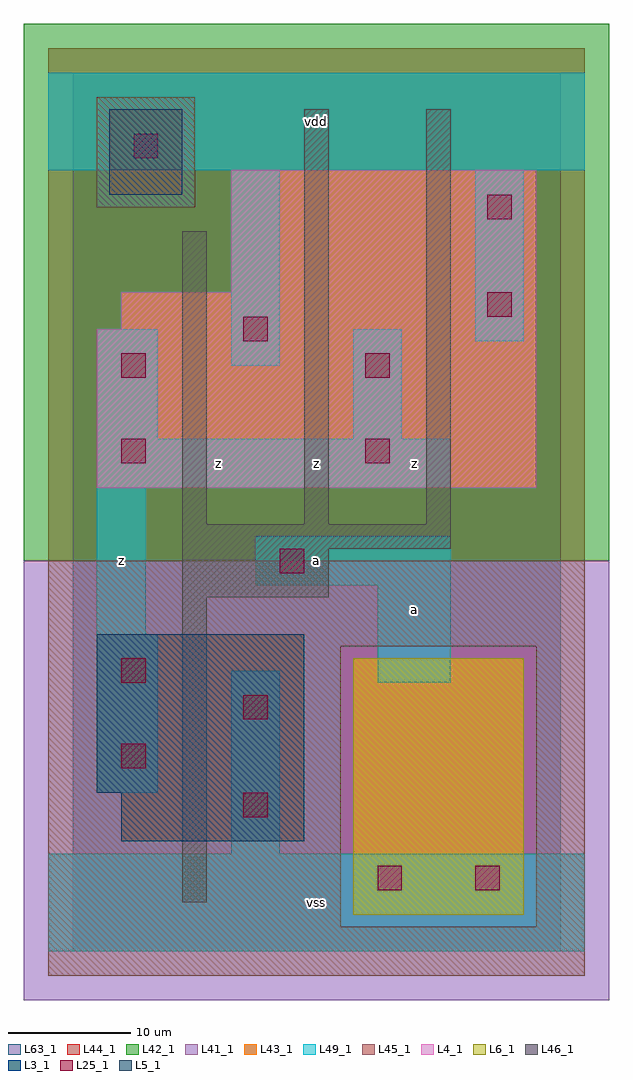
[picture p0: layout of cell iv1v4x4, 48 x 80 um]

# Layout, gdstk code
import gdstk
lib = gdstk.Library(unit=1e-6, precision=1e-09)
def R(c, l, rs):  # rectangles x0, y0, x1, y1
    for r in rs: c.add(gdstk.rectangle(r[:2], r[2:], *l))
L3_1 = (3, 1)
L4_1 = (4, 1)
L5_1 = (5, 1)
L6_1 = (6, 1)
L25_1 = (25, 1)
L41_1 = (41, 1)
L42_1 = (42, 1)
L43_1 = (43, 1)
L44_1 = (44, 1)
L45_1 = (45, 1)
L46_1 = (46, 1)
L49_1 = (49, 1)
L63_1 = (63, 1)

iv1v4x4 = lib.new_cell('iv1v4x4')
R(iv1v4x4, L3_1, [(4,9,19,13), (2,13,19,26)])
R(iv1v4x4, L4_1, [(2,38,38,51), (4,51,38,54), (13,54,38,64)])
R(iv1v4x4, L5_1, [(3,62,9,69)])
R(iv1v4x4, L6_1, [(23,3,37,24), (23,3,37,24)])
R(iv1v4x4, L25_1, [(25,5,27,7), (33,5,35,7), (14,11,16,13), (4,15,6,17), (14,19,16,21), (4,22,6,24), (17,31,19,33), (4,40,6,42), (24,40,26,42), (4,47,6,49), (24,47,26,49), (14,50,16,52), (34,52,36,54), (34,60,36,62), (5,65,7,67)])
R(iv1v4x4, L41_1, [(-4,-4,44,32)])
R(iv1v4x4, L42_1, [(-4,32,44,76)])
R(iv1v4x4, L43_1, [(23,3,37,24), (4,9,19,13), (2,13,19,26), (2,38,38,51), (4,51,38,54), (13,54,38,64), (3,62,9,69)])
R(iv1v4x4, L44_1, [(22,2,38,25), (-2,32,42,61), (-2,61,2,70), (10,61,42,70), (-2,70,42,74)])
R(iv1v4x4, L45_1, [(-2,-2,42,2), (-2,2,22,25), (38,2,42,25), (-2,25,42,32), (2,61,10,70)])
R(iv1v4x4, L46_1, [(9,4,11,29), (9,29,21,33), (9,33,31,35), (9,35,11,59), (19,35,21,69), (29,35,31,69)])
R(iv1v4x4, L49_1, [(-2,0,42,8), (13,8,17,23), (2,13,7,26), (25,22,31,30), (2,26,6,38), (15,30,31,34), (2,38,31,42), (2,42,7,51), (23,42,27,51), (13,48,17,64), (33,50,37,64), (-2,64,42,72)])
R(iv1v4x4, L63_1, [(0,0,40,72)])
iv1v4x4.add(gdstk.Label('z', (4,32), layer=49, texttype=1))
iv1v4x4.add(gdstk.Label('z', (12,40), layer=49, texttype=1))
iv1v4x4.add(gdstk.Label('vss', (20,4), layer=49, texttype=1))
iv1v4x4.add(gdstk.Label('a', (20,32), layer=49, texttype=1))
iv1v4x4.add(gdstk.Label('a', (28,28), layer=49, texttype=1))
iv1v4x4.add(gdstk.Label('z', (28,40), layer=49, texttype=1))
iv1v4x4.add(gdstk.Label('z', (20,40), layer=49, texttype=1))
iv1v4x4.add(gdstk.Label('vdd', (20,68), layer=49, texttype=1))

lib.write_gds('iv1v4x4.gds')
